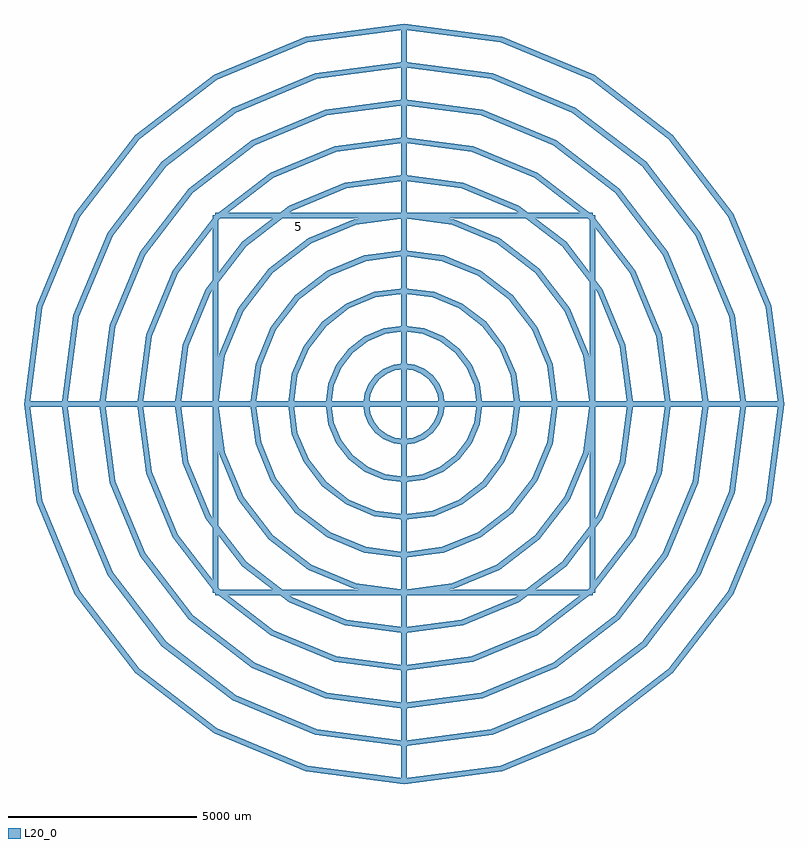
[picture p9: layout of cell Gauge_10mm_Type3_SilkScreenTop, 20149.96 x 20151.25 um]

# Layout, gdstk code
import gdstk
lib = gdstk.Library(unit=1e-6, precision=1e-09)
L20_0 = (20, 0)

gauge_10mm_type3_silkscr = lib.new_cell('Gauge_10mm_Type3_SilkScreenTop')
gauge_10mm_type3_silkscr.add(gdstk.FlexPath([(0,0),(9999.98,0)], 149.998, ends="flush", simple_path=True, layer=20, datatype=0))  # L20_0
gauge_10mm_type3_silkscr.add(gdstk.FlexPath([(0,0),(0,-1998.98)], 149.998, ends="flush", simple_path=True, layer=20, datatype=0))  # L20_0
gauge_10mm_type3_silkscr.add(gdstk.FlexPath([(0,0),(0,9999.98)], 149.998, ends="flush", simple_path=True, layer=20, datatype=0))  # L20_0
gauge_10mm_type3_silkscr.add(gdstk.FlexPath([(0,0),(-1998.98,0)], 149.998, ends="flush", simple_path=True, layer=20, datatype=0))  # L20_0
gauge_10mm_type3_silkscr.add(gdstk.FlexPath([(9999.98,0),(9659.239,2588.185),(8660.237,4999.99),(7071.054,7071.054),(4999.99,8660.237),(2588.185,9659.239),(0,9999.98),(-2588.185,9659.239),(-4999.99,8660.237),(-7071.054,7071.054),(-8660.237,4999.99),(-9659.239,2588.185),(-9999.98,0),(-9659.239,-2588.185),(-8660.237,-4999.99),(-7071.054,-7071.054),(-4999.99,-8660.237),(-2588.185,-9659.239),(0,-9999.98),(2588.185,-9659.239),(4999.99,-8660.237),(7071.054,-7071.054),(8660.237,-4999.99),(9659.239,-2588.185),(9999.98,0)], 149.998, ends="flush", simple_path=True, layer=20, datatype=0))  # L20_0
gauge_10mm_type3_silkscr.add(gdstk.FlexPath([(5001.26,0),(4830.846,1294.421),(4331.218,2500.63),(3536.425,3536.425),(2500.63,4331.218),(1294.421,4830.846),(0,5001.26),(-1294.421,4830.846),(-2500.63,4331.218),(-3536.425,3536.425),(-4331.218,2500.63),(-4830.846,1294.421),(-5001.26,0),(-4830.846,-1294.421),(-4331.218,-2500.63),(-3536.425,-3536.425),(-2500.63,-4331.218),(-1294.421,-4830.846),(0,-5001.26),(1294.421,-4830.846),(2500.63,-4331.218),(3536.425,-3536.425),(4331.218,-2500.63),(4830.846,-1294.421),(5001.26,0)], 149.998, ends="flush", simple_path=True, layer=20, datatype=0))  # L20_0
gauge_10mm_type3_silkscr.add(gdstk.FlexPath([(0,8999.22),(-2329.17,8692.579),(-4499.61,7793.553),(-6363.409,6363.409),(-7793.553,4499.61),(-8692.579,2329.17),(-8999.22,0),(-8692.579,-2329.17),(-7793.553,-4499.61),(-6363.409,-6363.409),(-4499.61,-7793.553),(-2329.17,-8692.579),(0,-8999.22),(2329.17,-8692.579),(4499.61,-7793.553),(6363.409,-6363.409),(7793.553,-4499.61),(8692.579,-2329.17),(8999.22,0),(8692.579,2329.17),(7793.553,4499.61),(6363.409,6363.409),(4499.61,7793.553),(2329.17,8692.579),(0,8999.22)], 149.998, ends="flush", simple_path=True, layer=20, datatype=0))  # L20_0
gauge_10mm_type3_silkscr.add(gdstk.FlexPath([(0,8001),(-2070.811,7728.373),(-4000.5,6929.069),(-5657.561,5657.561),(-6929.069,4000.5),(-7728.373,2070.811),(-8001,0),(-7728.373,-2070.811),(-6929.069,-4000.5),(-5657.561,-5657.561),(-4000.5,-6929.069),(-2070.811,-7728.373),(0,-8001),(2070.811,-7728.373),(4000.5,-6929.069),(5657.561,-5657.561),(6929.069,-4000.5),(7728.373,-2070.811),(8001,0),(7728.373,2070.811),(6929.069,4000.5),(5657.561,5657.561),(4000.5,6929.069),(2070.811,7728.373),(0,8001)], 149.998, ends="flush", simple_path=True, layer=20, datatype=0))  # L20_0
gauge_10mm_type3_silkscr.add(gdstk.FlexPath([(0,7000.24),(-1811.795,6761.713),(-3500.12,6062.386),(-4949.917,4949.917),(-6062.386,3500.12),(-6761.713,1811.795),(-7000.24,0),(-6761.713,-1811.795),(-6062.386,-3500.12),(-4949.917,-4949.917),(-3500.12,-6062.386),(-1811.795,-6761.713),(0,-7000.24),(1811.795,-6761.713),(3500.12,-6062.386),(4949.917,-4949.917),(6062.386,-3500.12),(6761.713,-1811.795),(7000.24,0),(6761.713,1811.795),(6062.386,3500.12),(4949.917,4949.917),(3500.12,6062.386),(1811.795,6761.713),(0,7000.24)], 149.998, ends="flush", simple_path=True, layer=20, datatype=0))  # L20_0
gauge_10mm_type3_silkscr.add(gdstk.FlexPath([(0,5999.48),(-1552.78,5795.053),(-2999.74,5195.702),(-4242.273,4242.273),(-5195.702,2999.74),(-5795.053,1552.78),(-5999.48,0),(-5795.053,-1552.78),(-5195.702,-2999.74),(-4242.273,-4242.273),(-2999.74,-5195.702),(-1552.78,-5795.053),(0,-5999.48),(1552.78,-5795.053),(2999.74,-5195.702),(4242.273,-4242.273),(5195.702,-2999.74),(5795.053,-1552.78),(5999.48,0),(5795.053,1552.78),(5195.702,2999.74),(4242.273,4242.273),(2999.74,5195.702),(1552.78,5795.053),(0,5999.48)], 149.998, ends="flush", simple_path=True, layer=20, datatype=0))  # L20_0
gauge_10mm_type3_silkscr.add(gdstk.FlexPath([(0,4000.5),(-1035.406,3864.186),(-2000.25,3464.535),(-2828.781,2828.781),(-3464.535,2000.25),(-3864.186,1035.406),(-4000.5,0),(-3864.186,-1035.406),(-3464.535,-2000.25),(-2828.781,-2828.781),(-2000.25,-3464.535),(-1035.406,-3864.186),(0,-4000.5),(1035.406,-3864.186),(2000.25,-3464.535),(2828.781,-2828.781),(3464.535,-2000.25),(3864.186,-1035.406),(4000.5,0),(3864.186,1035.406),(3464.535,2000.25),(2828.781,2828.781),(2000.25,3464.535),(1035.406,3864.186),(0,4000.5)], 149.998, ends="flush", simple_path=True, layer=20, datatype=0))  # L20_0
gauge_10mm_type3_silkscr.add(gdstk.FlexPath([(0,2999.74),(-776.39,2897.526),(-1499.87,2597.851),(-2121.136,2121.136),(-2597.851,1499.87),(-2897.526,776.39),(-2999.74,0),(-2897.526,-776.39),(-2597.851,-1499.87),(-2121.136,-2121.136),(-1499.87,-2597.851),(-776.39,-2897.526),(0,-2999.74),(776.39,-2897.526),(1499.87,-2597.851),(2121.136,-2121.136),(2597.851,-1499.87),(2897.526,-776.39),(2999.74,0),(2897.526,776.39),(2597.851,1499.87),(2121.136,2121.136),(1499.87,2597.851),(776.39,2897.526),(0,2999.74)], 149.998, ends="flush", simple_path=True, layer=20, datatype=0))  # L20_0
gauge_10mm_type3_silkscr.add(gdstk.FlexPath([(0,1998.98),(-517.374,1930.866),(-999.49,1731.167),(-1413.492,1413.492),(-1731.167,999.49),(-1930.866,517.374),(-1998.98,0),(-1930.866,-517.374),(-1731.167,-999.49),(-1413.492,-1413.492),(-999.49,-1731.167),(-517.374,-1930.866),(0,-1998.98),(517.374,-1930.866),(999.49,-1731.167),(1413.492,-1413.492),(1731.167,-999.49),(1930.866,-517.374),(1998.98,0),(1930.866,517.374),(1731.167,999.49),(1413.492,1413.492),(999.49,1731.167),(517.374,1930.866),(0,1998.98)], 149.998, ends="flush", simple_path=True, layer=20, datatype=0))  # L20_0
gauge_10mm_type3_silkscr.add(gdstk.FlexPath([(0,1000.76),(-259.016,966.66),(-500.38,866.684),(-707.644,707.644),(-866.684,500.38),(-966.66,259.016),(-1000.76,0),(-966.66,-259.016),(-866.684,-500.38),(-707.644,-707.644),(-500.38,-866.684),(-259.016,-966.66),(0,-1000.76),(259.016,-966.66),(500.38,-866.684),(707.644,-707.644),(866.684,-500.38),(966.66,-259.016),(1000.76,0),(966.66,259.016),(866.684,500.38),(707.644,707.644),(500.38,866.684),(259.016,966.66),(0,1000.76)], 149.998, ends="flush", simple_path=True, layer=20, datatype=0))  # L20_0
gauge_10mm_type3_silkscr.add(gdstk.FlexPath([(-1998.98,0),(-9999.98,0)], 149.998, ends="flush", simple_path=True, layer=20, datatype=0))  # L20_0
gauge_10mm_type3_silkscr.add(gdstk.FlexPath([(0,-1998.98),(0,-9999.98)], 149.998, ends="flush", simple_path=True, layer=20, datatype=0))  # L20_0
gauge_10mm_type3_silkscr.add(gdstk.FlexPath([(-5001.26,5001.26),(-5001.26,0)], 149.998, ends="flush", simple_path=True, layer=20, datatype=0))  # L20_0
gauge_10mm_type3_silkscr.add(gdstk.FlexPath([(0,5001.26),(-5001.26,5001.26)], 149.998, ends="flush", simple_path=True, layer=20, datatype=0))  # L20_0
gauge_10mm_type3_silkscr.add(gdstk.FlexPath([(5001.26,5001.26),(5001.26,0)], 149.998, ends="flush", simple_path=True, layer=20, datatype=0))  # L20_0
gauge_10mm_type3_silkscr.add(gdstk.FlexPath([(0,5001.26),(5001.26,5001.26)], 149.998, ends="flush", simple_path=True, layer=20, datatype=0))  # L20_0
gauge_10mm_type3_silkscr.add(gdstk.FlexPath([(-5001.26,-5001.26),(-5001.26,0)], 149.998, ends="flush", simple_path=True, layer=20, datatype=0))  # L20_0
gauge_10mm_type3_silkscr.add(gdstk.FlexPath([(0,-5001.26),(-5001.26,-5001.26)], 149.998, ends="flush", simple_path=True, layer=20, datatype=0))  # L20_0
gauge_10mm_type3_silkscr.add(gdstk.FlexPath([(5001.26,-5001.26),(0,-5001.26)], 149.998, ends="flush", simple_path=True, layer=20, datatype=0))  # L20_0
gauge_10mm_type3_silkscr.add(gdstk.FlexPath([(5001.26,0),(5001.26,-5001.26)], 149.998, ends="flush", simple_path=True, layer=20, datatype=0))  # L20_0
gauge_10mm_type3_silkscr.add(gdstk.Label('10mm', (11600.18,99.06), layer=9, texttype=0))
gauge_10mm_type3_silkscr.add(gdstk.Label('5', (-2799.08,4699), layer=9, texttype=0))
gauge_10mm_type3_silkscr.add(gdstk.Label('10mm', (99.06,11198.86), layer=9, texttype=0))
gauge_10mm_type3_silkscr.add(gdstk.Label('type', (-1270,-12700), layer=9, texttype=0))
gauge_10mm_type3_silkscr.add(gdstk.Label('devicename', (-13970,8890), layer=9, texttype=0))

lib.write_gds('Gauge_10mm_Type3_SilkScreenTop.gds')
